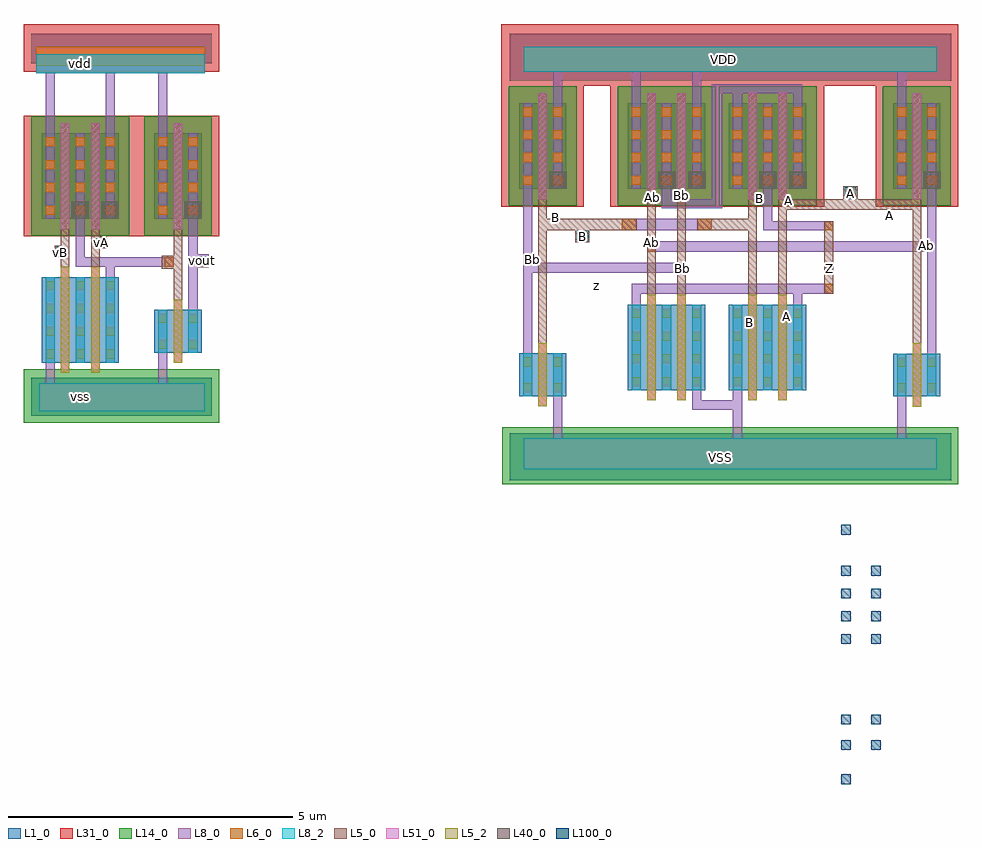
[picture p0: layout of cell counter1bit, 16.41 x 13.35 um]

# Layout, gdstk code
from math import pi, radians
import gdstk
lib = gdstk.Library(unit=1e-6, precision=5e-09)
def R(c, l, rs):  # rectangles x0, y0, x1, y1
    for r in rs: c.add(gdstk.rectangle(r[:2], r[2:], *l))
def A(c, l, x, y, w, h, nx, ny, dx, dy):  # array of equal rectangles
    R(c, l, [(x+i*dx, y+j*dy, x+i*dx+w, y+j*dy+h) for i in range(nx) for j in range(ny)])
def P(c, l, *ps):  # polygons
    for p in ps: c.add(gdstk.Polygon(p, *l))
L1_0 = (1, 0)
L5_0 = (5, 0)
L5_2 = (5, 2)
L6_0 = (6, 0)
L8_0 = (8, 0)
L8_2 = (8, 2)
L14_0 = (14, 0)
L31_0 = (31, 0)
L40_0 = (40, 0)
L51_0 = (51, 0)
L100_0 = (100, 0)

nmos_1 = lib.new_cell('nmos$1')
R(nmos_1, L1_0, [(0,0,0.3,0.3), (0,0,0.83,0.75), (0.53,0,0.83,0.3)])
R(nmos_1, L5_0, [(0.34,-0.18,0.49,0.93)])
R(nmos_1, L5_2, [(0.34,-0.18,0.49,0.93)])
R(nmos_1, L6_0, [(0.07,0.07,0.23,0.23), (0.6,0.07,0.76,0.23), (0.07,0.52,0.23,0.68), (0.6,0.52,0.76,0.68)])
R(nmos_1, L8_0, [(0.07,0,0.23,0.75), (0.6,0,0.76,0.75)])
R(nmos_1, L8_2, [(0.07,0,0.23,0.75), (0.6,0,0.76,0.75)])
R(nmos_1, L51_0, [(0.34,-0.18,0.49,0.93)])
nmos_1.add(gdstk.Label('nmos', (0.415,0.375), layer=63, texttype=0))
nmos_1.add(gdstk.Label('nmos', (0.415,0.375), layer=51, texttype=0))

pmos_1 = lib.new_cell('pmos$1')
R(pmos_1, L1_0, [(0,0,0.3,0.3), (0,0,0.83,1.5), (0.53,0,0.83,0.3)])
R(pmos_1, L5_0, [(0.34,-0.18,0.49,1.68), (0.34,-0.18,0.49,1.68)])
A(pmos_1, L6_0, 0.07, 0.07, 0.16, 0.16, 1, 4, 0, 0.4)
A(pmos_1, L6_0, 0.6, 0.07, 0.16, 0.16, 1, 4, 0, 0.4)
R(pmos_1, L8_0, [(0.07,0,0.23,1.5), (0.07,0,0.23,1.5), (0.6,0,0.76,1.5), (0.6,0,0.76,1.5)])
R(pmos_1, L14_0, [(-0.18,-0.3,1.01,1.8)])
R(pmos_1, L31_0, [(-0.31,-0.31,1.14,1.81)])
R(pmos_1, L40_0, [(0.53,0,0.83,0.3)])
R(pmos_1, L51_0, [(0.34,-0.18,0.49,1.68)])
pmos_1.add(gdstk.Label('pmos', (0.415,0.75), layer=63, texttype=0))
pmos_1.add(gdstk.Label('pmos', (0.415,0.75), layer=51, texttype=0))

nmos = lib.new_cell('nmos')
R(nmos, L1_0, [(0,0,0.3,0.3), (0,0,0.83,1.5), (0.53,0,0.83,0.3)])
R(nmos, L5_0, [(0.34,-0.18,0.49,1.68)])
R(nmos, L5_2, [(0.34,-0.18,0.49,1.68)])
A(nmos, L6_0, 0.07, 0.07, 0.16, 0.16, 1, 4, 0, 0.4)
A(nmos, L6_0, 0.6, 0.07, 0.16, 0.16, 1, 4, 0, 0.4)
R(nmos, L8_0, [(0.07,0,0.23,1.5), (0.6,0,0.76,1.5)])
R(nmos, L8_2, [(0.07,0,0.23,1.5), (0.6,0,0.76,1.5)])
R(nmos, L51_0, [(0.34,-0.18,0.49,1.68)])
nmos.add(gdstk.Label('nmos', (0.415,0.75), layer=63, texttype=0))
nmos.add(gdstk.Label('nmos', (0.415,0.75), layer=51, texttype=0))

pmos = lib.new_cell('pmos')
R(pmos, L1_0, [(0,0,0.3,0.3), (0,0,0.83,1.5), (0.53,0,0.83,0.3)])
R(pmos, L5_0, [(0.34,-0.18,0.49,1.68), (0.34,-0.18,0.49,1.68)])
A(pmos, L6_0, 0.07, 0.07, 0.16, 0.16, 1, 4, 0, 0.4)
A(pmos, L6_0, 0.6, 0.07, 0.16, 0.16, 1, 4, 0, 0.4)
R(pmos, L8_0, [(0.07,0,0.23,1.5), (0.07,0,0.23,1.5), (0.6,0,0.76,1.5), (0.6,0,0.76,1.5)])
R(pmos, L14_0, [(-0.18,-0.3,1.01,1.8)])
R(pmos, L31_0, [(-0.31,-0.31,1.14,1.81)])
R(pmos, L40_0, [(0.53,0,0.83,0.3)])
R(pmos, L51_0, [(0.34,-0.18,0.49,1.68)])
pmos.add(gdstk.Label('pmos', (0.415,0.75), layer=63, texttype=0))
pmos.add(gdstk.Label('pmos', (0.415,0.75), layer=51, texttype=0))

pmos_1_1 = lib.new_cell('pmos$1$1')
R(pmos_1_1, L1_0, [(0,0,0.3,0.3), (0,0,0.83,1.5), (0.53,0,0.83,0.3)])
R(pmos_1_1, L5_0, [(0.34,-0.18,0.49,1.68), (0.34,-0.18,0.49,1.68)])
A(pmos_1_1, L6_0, 0.07, 0.07, 0.16, 0.16, 1, 4, 0, 0.4)
A(pmos_1_1, L6_0, 0.6, 0.07, 0.16, 0.16, 1, 4, 0, 0.4)
R(pmos_1_1, L8_0, [(0.07,0,0.23,1.5), (0.07,0,0.23,1.5), (0.6,0,0.76,1.5), (0.6,0,0.76,1.5)])
R(pmos_1_1, L14_0, [(-0.18,-0.3,1.01,1.8)])
R(pmos_1_1, L31_0, [(-0.31,-0.31,1.14,1.81)])
R(pmos_1_1, L40_0, [(0.53,0,0.83,0.3)])
R(pmos_1_1, L51_0, [(0.34,-0.18,0.49,1.68)])
pmos_1_1.add(gdstk.Label('pmos', (0.415,0.75), layer=63, texttype=0))
pmos_1_1.add(gdstk.Label('pmos', (0.415,0.75), layer=51, texttype=0))

nmos_2 = lib.new_cell('nmos$2')
R(nmos_2, L1_0, [(0,0,0.3,0.3), (0,0,0.83,0.75), (0.53,0,0.83,0.3)])
R(nmos_2, L5_0, [(0.34,-0.18,0.49,0.93)])
R(nmos_2, L5_2, [(0.34,-0.18,0.49,0.93)])
R(nmos_2, L6_0, [(0.07,0.07,0.23,0.23), (0.6,0.07,0.76,0.23), (0.07,0.52,0.23,0.68), (0.6,0.52,0.76,0.68)])
R(nmos_2, L8_0, [(0.07,0,0.23,0.75), (0.6,0,0.76,0.75)])
R(nmos_2, L8_2, [(0.07,0,0.23,0.75), (0.6,0,0.76,0.75)])
R(nmos_2, L51_0, [(0.34,-0.18,0.49,0.93)])
nmos_2.add(gdstk.Label('nmos', (0.415,0.375), layer=63, texttype=0))
nmos_2.add(gdstk.Label('nmos', (0.415,0.375), layer=51, texttype=0))

nmos_1_1 = lib.new_cell('nmos$1$1')
R(nmos_1_1, L1_0, [(0,0,0.3,0.3), (0,0,0.83,1.5), (0.53,0,0.83,0.3)])
R(nmos_1_1, L5_0, [(0.34,-0.18,0.49,1.68)])
R(nmos_1_1, L5_2, [(0.34,-0.18,0.49,1.68)])
A(nmos_1_1, L6_0, 0.07, 0.07, 0.16, 0.16, 1, 4, 0, 0.4)
A(nmos_1_1, L6_0, 0.6, 0.07, 0.16, 0.16, 1, 4, 0, 0.4)
R(nmos_1_1, L8_0, [(0.07,0,0.23,1.5), (0.6,0,0.76,1.5)])
R(nmos_1_1, L8_2, [(0.07,0,0.23,1.5), (0.6,0,0.76,1.5)])
R(nmos_1_1, L51_0, [(0.34,-0.18,0.49,1.68)])
nmos_1_1.add(gdstk.Label('nmos', (0.415,0.75), layer=63, texttype=0))
nmos_1_1.add(gdstk.Label('nmos', (0.415,0.75), layer=51, texttype=0))

counter1bit = lib.new_cell('counter1bit')
R(counter1bit, L1_0, [(-6.2,3.795,1.55,4.62), (-14.6,4.93,-11.43,5.595), (-6.2,10.81,1.55,11.635), (-14.6,11.12,-11.43,11.635)])
R(counter1bit, L5_0, [(-3.255,7.05,-3.105,8.73), (-3.785,7.055,-3.635,8.73), (-0.675,7.07,-0.515,8.345)])
P(counter1bit, L5_0, [(-12.1,6.965),(-12.1,7.505),(-12.305,7.505),(-12.305,7.74),(-12.1,7.74),(-12.1,8.225),(-11.95,8.225),(-11.95,6.965)],
  [(-13.55,7.54),(-13.55,8.205),(-13.4,8.205),(-13.4,8.07),(-13.275,8.07),(-13.275,7.865),(-13.4,7.865),(-13.4,7.54)],
  [(-14.08,7.535),(-14.08,7.71),(-14.19,7.71),(-14.19,7.91),(-14.08,7.91),(-14.08,8.205),(-13.93,8.205),(-13.93,7.535)],
  [(0.875,6.195),(0.875,8.54),(-1.33,8.54),(-1.33,7.055),(-1.48,7.055),(-1.48,8.73),(-0.34,8.73),(-0.34,8.955),(-0.09,8.955),(-0.09,8.73),(1.025,8.73),(1.025,6.195)],
  [(-2.01,7.055),(-2.01,8.185),(-2.91,8.185),(-2.91,8.385),(-2.01,8.385),(-2.01,8.73),(-1.86,8.73),(-1.86,7.055)],
  [(-5.695,6.2),(-5.695,8.73),(-5.545,8.73),(-5.545,8.385),(-3.97,8.385),(-3.97,8.185),(-4.8,8.185),(-4.8,7.975),(-5.045,7.975),(-5.045,8.185),(-5.545,8.185),(-5.545,6.2)])
R(counter1bit, L6_0, [(-5.95,3.985,1.3,4.53), (-14.46,5.005,-11.55,5.5), (-0.675,7.07,-0.515,7.245), (-3.255,7.435,-3.105,7.615), (-0.675,7.44,-0.515,7.605), (-12.26,7.54,-12.1,7.705), (-11.68,7.57,-11.52,7.73), (-14.165,7.73,-14.005,7.89), (-3.785,7.805,-3.635,7.99), (-13.46,7.885,-13.3,8.045), (-5.025,7.99,-4.82,8.185), (-4.235,8.185,-3.97,8.385), (-2.91,8.185,-2.655,8.385), (-0.675,8.185,-0.515,8.345), (-0.32,8.73,-0.11,8.935), (-5.95,10.965,1.3,11.405), (-14.515,11.075,-11.55,11.405)])
R(counter1bit, L8_0, [(-0.675,7.44,-0.515,7.605), (-14.165,7.73,-14.005,7.89), (-13.46,7.885,-13.3,8.045), (-5.025,7.99,-4.82,8.185), (-4.235,8.185,-2.655,8.385), (-0.32,8.73,-0.11,8.935)])
P(counter1bit, L8_0, [(-14.35,9.885),(-14.35,10.94),(-14.515,10.94),(-14.515,11.27),(-11.55,11.27),(-11.55,10.94),(-12.21,10.94),(-12.21,9.885),(-12.37,9.885),(-12.37,10.94),(-13.13,10.94),(-13.13,9.885),(-13.29,9.885),(-13.29,10.94),(-14.19,10.94),(-14.19,9.885)],
  [(-11.84,6.785),(-11.84,8.405),(-11.68,8.405),(-11.68,7.765),(-11.48,7.765),(-11.48,7.535),(-11.68,7.535),(-11.68,6.785)],
  [(-14.46,5.005),(-14.46,5.5),(-14.35,5.5),(-14.35,5.86),(-14.19,5.86),(-14.19,5.5),(-12.37,5.5),(-12.37,6.035),(-12.21,6.035),(-12.21,5.5),(-11.55,5.5),(-11.55,5.005)],
  [(-13.29,7.36),(-13.29,7.54),(-13.82,7.54),(-13.82,8.385),(-13.66,8.385),(-13.66,7.705),(-12.1,7.705),(-12.1,7.54),(-13.13,7.54),(-13.13,7.36)],
  [(-4.055,6.875),(-4.055,7.245),(-0.515,7.245),(-0.515,7.07),(-1.06,7.07),(-1.06,6.875),(-1.22,6.875),(-1.22,7.07),(-3.895,7.07),(-3.895,6.875)],
  [(-5.95,3.985),(-5.95,4.53),(-5.435,4.53),(-5.435,5.27),(-5.275,5.27),(-5.275,4.53),(-2.28,4.53),(-2.28,5.035),(-2.995,5.035),(-2.995,5.435),(-2.835,5.435),(-2.835,5.195),(-2.28,5.195),(-2.28,5.375),(-2.12,5.375),(-2.12,4.53),(0.605,4.53),(0.605,5.265),(0.765,5.265),(0.765,4.53),(1.3,4.53),(1.3,3.985)],
  [(-5.435,10.405),(-5.435,10.965),(-5.95,10.965),(-5.95,11.405),(1.3,11.405),(1.3,10.965),(0.765,10.965),(0.765,10.41),(0.605,10.41),(0.605,10.965),(-2.835,10.965),(-2.835,10.41),(-2.995,10.41),(-2.995,10.965),(-3.895,10.965),(-3.895,10.41),(-4.055,10.41),(-4.055,10.965),(-5.275,10.965),(-5.275,10.405)],
  [(-1.75,8.185),(-1.75,8.91),(-1.59,8.91),(-1.59,8.345),(-0.515,8.345),(-0.515,8.185)],
  [(-3.525,8.57),(-3.525,8.91),(-3.365,8.91),(-3.365,8.73),(-2.655,8.73),(-2.655,10.75),(-1.06,10.75),(-1.06,10.41),(-1.22,10.41),(-1.22,10.59),(-2.12,10.59),(-2.12,10.41),(-2.28,10.41),(-2.28,10.59),(-2.47,10.59),(-2.47,8.57)],
  [(1.135,6.015),(1.135,7.805),(-3.785,7.805),(-3.785,7.99),(1.135,7.99),(1.135,8.91),(1.295,8.91),(1.295,6.015)],
  [(-5.965,6.02),(-5.965,8.91),(-5.805,8.91),(-5.805,7.615),(-3.105,7.615),(-3.105,7.435),(-5.805,7.435),(-5.805,6.02)])
R(counter1bit, L8_2, [(-5.95,3.985,1.3,4.53), (-14.46,5.005,-11.55,5.5), (-0.675,7.44,-0.515,7.605), (-11.68,7.57,-11.52,7.73), (-14.165,7.73,-14.005,7.89), (-13.46,7.885,-13.3,8.045), (-5.025,7.99,-4.82,8.185), (-0.32,8.73,-0.11,8.935), (-14.515,10.94,-11.55,11.27), (-5.95,10.965,1.3,11.405)])
R(counter1bit, L14_0, [(-6.33,3.725,1.675,4.72), (-14.73,4.805,-11.3,5.745)])
R(counter1bit, L31_0, [(-6.345,10.72,1.675,11.805), (-14.73,10.965,-11.3,11.805)])
R(counter1bit, L100_0, [(-0.38,-1.54,-0.21,-1.37), (-0.38,-1.54,-0.21,-1.37), (-0.38,-0.94,-0.21,-0.77), (-0.38,-0.94,-0.21,-0.77), (0.15,-0.94,0.32,-0.77), (0.15,-0.94,0.32,-0.77), (-0.38,-0.49,-0.21,-0.32), (-0.38,-0.49,-0.21,-0.32), (0.15,-0.49,0.32,-0.32), (0.15,-0.49,0.32,-0.32), (-0.38,0.92,-0.21,1.09), (-0.38,0.92,-0.21,1.09), (0.15,0.92,0.32,1.09), (0.15,0.92,0.32,1.09), (-0.38,1.32,-0.21,1.49), (-0.38,1.32,-0.21,1.49), (0.15,1.32,0.32,1.49), (0.15,1.32,0.32,1.49), (-0.38,1.72,-0.21,1.89), (-0.38,1.72,-0.21,1.89), (0.15,1.72,0.32,1.89), (0.15,1.72,0.32,1.89), (-0.38,2.12,-0.21,2.29), (-0.38,2.12,-0.21,2.29), (0.15,2.12,0.32,2.29), (0.15,2.12,0.32,2.29), (-0.38,2.84,-0.21,3.01), (-0.38,2.84,-0.21,3.01)])
counter1bit.add(gdstk.Reference(nmos_1, (-12.44,6.035)))
counter1bit.add(gdstk.Reference(pmos_1, (-12.44,8.385)))
counter1bit.add(gdstk.Reference(nmos, (-14.42,5.86)))
counter1bit.add(gdstk.Reference(pmos, (-14.42,8.385)))
counter1bit.add(gdstk.Reference(pmos, (-13.89,8.385)))
counter1bit.add(gdstk.Reference(nmos, (-13.89,5.86)))
counter1bit.add(gdstk.Reference(pmos_1_1, (-6.035,8.91)))
counter1bit.add(gdstk.Reference(pmos_1_1, (-4.125,8.91)))
counter1bit.add(gdstk.Reference(pmos_1_1, (-3.595,8.91)))
counter1bit.add(gdstk.Reference(pmos_1_1, (-1.82,8.91)))
counter1bit.add(gdstk.Reference(pmos_1_1, (-2.35,8.91)))
counter1bit.add(gdstk.Reference(nmos_2, (1.365,6.015), rotation=pi))
counter1bit.add(gdstk.Reference(nmos_1_1, (-3.595,5.375)))
counter1bit.add(gdstk.Reference(nmos_1_1, (-4.125,5.375)))
counter1bit.add(gdstk.Reference(nmos_1_1, (-1.82,5.375)))
counter1bit.add(gdstk.Reference(nmos_1_1, (-2.35,5.375)))
counter1bit.add(gdstk.Reference(nmos_2, (-5.205,6.02), rotation=pi))
counter1bit.add(gdstk.Reference(pmos_1_1, (0.535,8.91)))
counter1bit.add(gdstk.Label('Ab', (-3.705,7.96), layer=63, texttype=0))
counter1bit.add(gdstk.Label('Bb', (-3.17,7.505), layer=63, texttype=0))
counter1bit.add(gdstk.Label('A', (-1.335,6.665), layer=63, texttype=0))
counter1bit.add(gdstk.Label('B', (-1.98,6.57), layer=63, texttype=0))
counter1bit.add(gdstk.Label('z', (-4.675,7.215), layer=63, texttype=0))
counter1bit.add(gdstk.Label('A', (0.475,8.44), layer=63, texttype=0))
counter1bit.add(gdstk.Label('Bb', (-5.8,7.67), layer=63, texttype=0))
counter1bit.add(gdstk.Label('B', (-5.39,8.41), layer=63, texttype=0))
counter1bit.add(gdstk.Label('B', (-1.815,8.745), layer=63, texttype=0))
counter1bit.add(gdstk.Label('A', (-1.305,8.71), layer=63, texttype=0))
counter1bit.add(gdstk.Label('Ab', (1.115,7.915), layer=63, texttype=0))
counter1bit.add(gdstk.Label('Bb', (-3.18,8.795), layer=63, texttype=0))
counter1bit.add(gdstk.Label('Ab', (-3.7,8.75), layer=63, texttype=0))
counter1bit.add(gdstk.Label('vout', (-11.595,7.645), layer=8, texttype=2))
counter1bit.add(gdstk.Label('vB', (-14.09,7.8), layer=8, texttype=2))
counter1bit.add(gdstk.Label('vA', (-13.365,7.96), layer=8, texttype=2))
counter1bit.add(gdstk.Label('vdd', (-13.73,11.105), layer=8, texttype=2))
counter1bit.add(gdstk.Label('vss', (-13.735,5.26), layer=8, texttype=2))
counter1bit.add(gdstk.Label('VDD', (-2.44,11.185), layer=8, texttype=2))
counter1bit.add(gdstk.Label('VSS', (-2.495,4.195), layer=8, texttype=2))
counter1bit.add(gdstk.Label('B', (-4.92,8.08), layer=8, texttype=2))
counter1bit.add(gdstk.Label('A', (-0.22,8.83), layer=8, texttype=2))
counter1bit.add(gdstk.Label('Z', (-0.59,7.515), layer=8, texttype=2))

lib.write_gds('counter1bit.gds')
